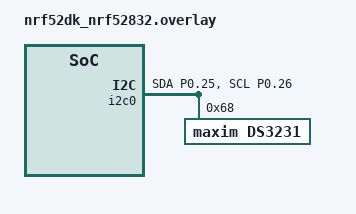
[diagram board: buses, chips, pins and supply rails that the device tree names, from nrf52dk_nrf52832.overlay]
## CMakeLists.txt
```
cmake_minimum_required(VERSION 3.20.0)
find_package(Zephyr REQUIRED HINTS $ENV{ZEPHYR_BASE})

project(example_max31328_rtc)

#add libraries
#include_directories(include)
#add_library(Adafruit_VEML7700 STATIC lib/Adafruit_VEML7700.cpp)
#add_library(simple_math STATIC lib/simple_math.c)

target_sources(app PRIVATE src/main.c)
#target_link_libraries(app PRIVATE simple_math)
```

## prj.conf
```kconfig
CONFIG_LOG_PRINTK=n
CONFIG_LOG=y
CONFIG_PRINTK=y

CONFIG_I2C=y
CONFIG_SENSOR=y
CONFIG_GPIO=y

CONFIG_CBPRINTF_FP_SUPPORT=y

CONFIG_COUNTER=y
CONFIG_COUNTER_MAXIM_DS3231=y
CONFIG_COUNTER_INIT_PRIORITY=65

# Minimal libc doesn't have strftime()
CONFIG_REQUIRES_FULL_LIBC=y

# Optional step that syncs RTC and local clock.  Don't enable this if
# your RTC has already been synchronized and you want to keep its
# setting.
#CONFIG_APP_SET_ALIGNED_CLOCK=y

#CONFIG_LOG=y
#CONFIG_COUNTER_LOG_LEVEL_DBG=y
```

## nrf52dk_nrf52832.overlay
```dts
// To get started, press Ctrl+Space to bring up the completion menu and view the available nodes.

// You can also use the buttons in the sidebar to perform actions on nodes.
// Actions currently available include:

// * Enabling / disabling the node
// * Adding the bus to a bus
// * Removing the node
// * Connecting ADC channels

// For more help, browse the DeviceTree documentation at https://docs.zephyrproject.org/latest/guides/dts/index.html
// You can also visit the nRF DeviceTree extension documentation at https://nrfconnect.github.io/vscode-nrf-connect/devicetree/nrfdevicetree.html

&i2c0 {
    compatible = "nordic,nrf-twim";
    status = "okay";
    pinctrl-0 = <&i2c0_default>;
	pinctrl-1 = <&i2c0_sleep>;
	pinctrl-names = "default", "sleep";

    ds3231: ds3231@68 {
		compatible = "maxim,ds3231";
		reg = <0x68>;
		//isw-gpios = <&gpio0 0 (GPIO_PULL_UP | GPIO_ACTIVE_LOW)>;
	};
};

&pinctrl{
    i2c0_default: i2c0_default {
		group1 {
			psels = <NRF_PSEL(TWIM_SDA, 0, 25)>,
				<NRF_PSEL(TWIM_SCL, 0, 26)>;
		};
	};

	i2c0_sleep: i2c0_sleep {
		group1 {
			psels = <NRF_PSEL(TWIM_SDA, 0, 25)>,
				<NRF_PSEL(TWIM_SCL, 0, 26)>;
			low-power-enable;
		};
	};
};

&spi0 {
    status = "disabled";
};
```

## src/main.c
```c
#include <stdio.h>
#include <zephyr/kernel.h>
#include <zephyr/device.h>
#include <zephyr/drivers/counter.h>
#include <zephyr/sys/printk.h>
#include <zephyr/drivers/rtc/maxim_ds3231.h>
#include <zephyr/drivers/i2c.h>

/* Format times as: YYYY-MM-DD HH:MM:SS DOW DOY */
static char *format_time(struct tm *time){ 
	static char buf[64]; //buffer to store formatted time
	char *bp = buf; //pointer to the current write position
	char *const bpe = bp + sizeof(buf); //pointer to the end of the buffer
	//struct tm *tp = time;
	bp += strftime(bp, bpe - bp, "%Y-%m-%d %H:%M:%S", time); //format date and time as a string, adjusts the write location of bp by N*sizeof(char)
	bp += strftime(bp, bpe - bp, " %a", time);
	return buf;
}

void set_rtc_time_interrupt(const struct device *ds3231, time_t time){
	// establish a syncpoint
	uint32_t syncclock = maxim_ds3231_read_syncclock(ds3231); //this is using k_uptime_get_32() to get uptime from boot in ms
	printk("The time has been set as %ld\n", (long)time);

	struct maxim_ds3231_syncpoint sp = {
		.rtc = {
			.tv_sec = time,
			.tv_nsec = 0, //to not ignore sub second, use (uint64_t)NSEC_PER_SEC * syncclock / syncclock_Hz,
		},
		.syncclock = syncclock,
	};

	// Set the RTC time with syncpoint
	struct sys_notify notify;
	int rc = maxim_ds3231_set(ds3231, &sp, &notify); //won't work without some sort of interrupt setup
	k_msleep(200);
	// Check for success or failure
	if (rc == 0) {
	    printk("RTC time set successfully using syncpoint!\n");
	} else {
	    printk("Error setting RTC time: %d\n", rc);
	}
}

void set_rtc_time(const struct device *i2c_dev, struct tm time){
	uint8_t buf_sec = 0, buf_min = 0, buf_hour = 0, buf_day = 0, buf_date = 0, buf_month = 0, buf_year = 0;
	printk("The values passed in to set are: sec: %d, min: %d, hour: %d, wday: %d, mday: %d, mon: %d, year: %d\n", time.tm_sec, time.tm_min, time.tm_hour, time.tm_wday, time.tm_mday, time.tm_mon, time.tm_year);
	buf_sec = ((time.tm_sec / 10) << 4) | (time.tm_sec % 10);
	buf_min = ((time.tm_min / 10) << 4) | (time.tm_min % 10);
	buf_hour = ((time.tm_hour / 10) << 4) | (time.tm_hour % 10);
	buf_day = time.tm_wday;
	buf_date = ((time.tm_mday / 10) << 4) | (time.tm_mday % 10);
	buf_month = ((time.tm_mon / 10) << 4) | (time.tm_mon % 10);
	buf_year = ((time.tm_year / 10) << 4) | (time.tm_year % 10);

	int ret = i2c_reg_write_byte(i2c_dev, 0x68, 0x00, buf_sec);
	ret = i2c_reg_write_byte(i2c_dev, 0x68, 0x01, buf_min);
	ret = i2c_reg_write_byte(i2c_dev, 0x68, 0x02, buf_hour);
	ret = i2c_reg_write_byte(i2c_dev, 0x68, 0x03, buf_day);
	ret = i2c_reg_write_byte(i2c_dev, 0x68, 0x04, buf_date);
	ret = i2c_reg_write_byte(i2c_dev, 0x68, 0x05, buf_month);
	ret = i2c_reg_write_byte(i2c_dev, 0x68, 0x06, buf_year);

	printk("The following time has been set: sec: %hhu, min: %hhu, hour: %hhu, wday: %hhu, mday: %hhu, mon: %hhu, year: %hhu\n", buf_sec, buf_min, buf_hour, buf_day, buf_date, buf_month, buf_year);

}

struct tm get_rtc_time(const struct device *i2c_dev){
	// Directly reads and interprets the date time registers of the DS3231, outputs a tm struct
	uint8_t buf_sec = 0, buf_min = 0, buf_hour = 0, buf_day = 0, buf_date = 0, buf_month = 0, buf_year = 0;
	struct tm current_time = {0};
	int ret = i2c_reg_read_byte(i2c_dev, 0x68, 0x00, &buf_sec);
	ret = i2c_reg_read_byte(i2c_dev, 0x68, 0x01, &buf_min);
	ret = i2c_reg_read_byte(i2c_dev, 0x68, 0x02, &buf_hour);
	ret = i2c_reg_read_byte(i2c_dev, 0x68, 0x03, &buf_day);
	ret = i2c_reg_read_byte(i2c_dev, 0x68, 0x04, &buf_date);
	ret = i2c_reg_read_byte(i2c_dev, 0x68, 0x05, &buf_month);
	ret = i2c_reg_read_byte(i2c_dev, 0x68, 0x06, &buf_year);
	// if (ret != 0){
	// 	printk("There was an error reading from the register");
	// }
	current_time.tm_sec = (((buf_sec & 112) >> 4) * 10) + (buf_sec & 15);//((buf_sec / 10) << 4) | (buf_sec % 10);
	current_time.tm_min = (((buf_min & 112) >> 4) * 10) + (buf_min & 15);

	int hour_calc = (((buf_hour & 16) >> 4) * 10) + (buf_hour & 15); //this is wrong, bit 5 is used in the hour calculation for 24 hour time, but for AM PM for 12 hour time
	if (((buf_hour & 64) >> 6) == 1){ //this means 12 hour format
		if (((buf_hour & 32) >> 5) == 1){ //this means PM
			//handle edge cases:
			if (hour_calc == 12){
				current_time.tm_hour = 12; //convert to 24 hour time
			}
		} else { //this means AM time
			if (hour_calc == 12){
				current_time.tm_hour = 0; //convert to 24 hour time
			}
		}
	} else {
		current_time.tm_hour = hour_calc + (((buf_hour & 32) >> 5) * 20);  //24 hour time
	}
	current_time.tm_wday = buf_day;
	current_time.tm_mday = (((buf_date & 48) >> 4) * 10) + (buf_date & 15);
	current_time.tm_mon = (((buf_month & 16) >> 4) * 10) + (buf_month & 15); //ignore bit 7
	current_time.tm_year = (((buf_year & 240) >> 4) * 10) + (buf_year & 15);
	printk("The following buffers contains: sec: %hhu, min: %hhu, hour: %hhu, wday: %hhu, mday: %hhu, mon: %hhu, year: %hhu\n", buf_sec, buf_min, buf_hour, buf_day, buf_date, buf_month, buf_year);
	printk("The time formatted is: sec: %d, min: %d, hour: %d, wday: %d, mday: %d, mon: %d, year: %d\n", current_time.tm_sec, current_time.tm_min, current_time.tm_hour, current_time.tm_wday, current_time.tm_mday, current_time.tm_mon, current_time.tm_year);
	return current_time;
}

int main(void){
	const struct device *ds3231 = DEVICE_DT_GET_ONE(maxim_ds3231);
	const struct device *i2c_dev = DEVICE_DT_GET(DT_NODELABEL(i2c0));

	struct tm tm_set_time = {0};
	tm_set_time.tm_sec = 0;		//seconds,  range 0 to 59
	tm_set_time.tm_min = 36;		//minutes, range 0 to 59
	tm_set_time.tm_hour = 22;		//hours, range 0 to 23

	tm_set_time.tm_mday = 10;		//day of the month, range 1 to 31
	tm_set_time.tm_mon = 3;		//month, range 0 to 11
	tm_set_time.tm_year = 2025 - 1900;	//the number of years since 1900

	tm_set_time.tm_wday = 4;		//day of the week, range 0 to 6
	tm_set_time.tm_yday = 100;		//day in the year, range 0 to 365
	// tm_set_time.tm_isdst = 1;		//daylight saving time - positive when in effect, 0 when not, negative when unknown

	//time_t time_s = mktime(&tm_set_time); 
	set_rtc_time(i2c_dev, tm_set_time);

	while (1){
		struct tm tm_curr_time = get_rtc_time(i2c_dev);
		printk("The current time is: %s\n", format_time(&tm_curr_time));
		
		k_msleep(2000);
		printk("after sleep...\n");
	}
	return 0;
}
```
